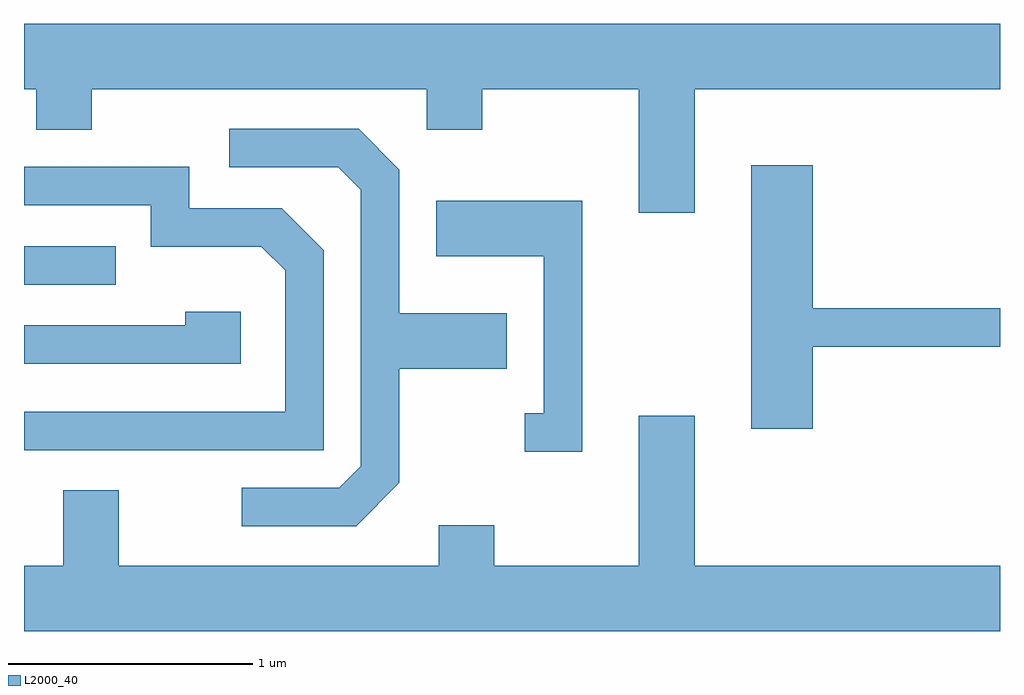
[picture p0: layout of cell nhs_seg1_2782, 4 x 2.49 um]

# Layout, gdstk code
import gdstk
lib = gdstk.Library(unit=1e-6, precision=1e-09)
def R(c, l, rs):  # rectangles x0, y0, x1, y1
    for r in rs: c.add(gdstk.rectangle(r[:2], r[2:], *l))
def P(c, l, *ps):  # polygons
    for p in ps: c.add(gdstk.Polygon(p, *l))
L2000_40 = (2000, 40)

nhs_seg1_2782 = lib.new_cell('nhs_seg1_2782')
R(nhs_seg1_2782, L2000_40, [(269.611,903.216,269.988,903.374)])
P(nhs_seg1_2782, L2000_40, [(272.359,904.016),(273.611,904.016),(273.611,904.284),(269.611,904.284),(269.611,904.016),(269.661,904.016),(269.661,903.851),(269.889,903.851),(269.889,904.016),(271.261,904.016),(271.261,903.851),(271.489,903.851),(271.489,904.016),(272.131,904.016),(272.131,903.511),(272.359,903.511)],
  [(271.149,902.404),(271.149,902.871),(271.589,902.871),(271.589,903.099),(271.149,903.099),(271.149,903.687),(270.982,903.854),(270.453,903.854),(270.453,903.696),(270.899,903.696),(270.991,903.604),(270.991,902.472),(270.904,902.384),(270.503,902.384),(270.503,902.226),(270.972,902.226)],
  [(272.844,902.961),(273.611,902.961),(273.611,903.119),(272.844,903.119),(272.844,903.704),(272.591,903.704),(272.591,902.626),(272.844,902.626)],
  [(270.839,903.357),(270.667,903.529),(270.289,903.529),(270.289,903.699),(269.611,903.699),(269.611,903.541),(270.131,903.541),(270.131,903.371),(270.584,903.371),(270.681,903.274),(270.681,902.694),(269.611,902.694),(269.611,902.536),(270.839,902.536)],
  [(271.899,903.559),(271.301,903.559),(271.301,903.331),(271.741,903.331),(271.741,902.689),(271.663,902.689),(271.663,902.531),(271.899,902.531)],
  [(270.499,903.104),(270.271,903.104),(270.271,903.049),(269.611,903.049),(269.611,902.891),(270.499,902.891)],
  [(273.611,902.064),(272.359,902.064),(272.359,902.679),(272.131,902.679),(272.131,902.064),(271.539,902.064),(271.539,902.229),(271.311,902.229),(271.311,902.064),(269.999,902.064),(269.999,902.374),(269.771,902.374),(269.771,902.064),(269.611,902.064),(269.611,901.796),(273.611,901.796)])

lib.write_gds('nhs_seg1_2782.gds')
